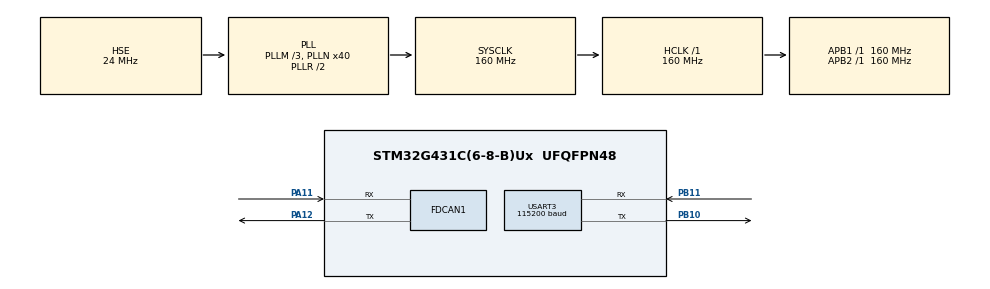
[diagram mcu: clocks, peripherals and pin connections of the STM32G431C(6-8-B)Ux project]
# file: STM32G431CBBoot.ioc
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FDCAN1.CalculateBaudRateNominal=500000
FDCAN1.CalculateTimeBitNominal=2000
FDCAN1.CalculateTimeQuantumNominal=125.0
FDCAN1.DataPrescaler=20
FDCAN1.DataTimeSeg1=10
FDCAN1.DataTimeSeg2=5
FDCAN1.NominalPrescaler=20
FDCAN1.NominalTimeSeg1=10
FDCAN1.NominalTimeSeg2=5
Mcu.Family=STM32G4
Mcu.Name=STM32G431C(6-8-B)Ux
Mcu.Package=UFQFPN48
NVIC.FDCAN1_IT0_IRQn=true\:0\:0\:false\:false\:true\:true\:true\:true
NVIC.PriorityGroup=NVIC_PRIORITYGROUP_4
NVIC.USART3_IRQn=true\:0\:0\:false\:false\:true\:true\:true\:true
PA11.Mode=FDCAN_Activate
PA11.Signal=FDCAN1_RX
PA12.Mode=FDCAN_Activate
PA12.Signal=FDCAN1_TX
PA13.Mode=Serial_Wire
PA13.Signal=SYS_JTMS-SWDIO
PA14.Mode=Serial_Wire
PA14.Signal=SYS_JTCK-SWCLK
PB10.Mode=Asynchronous
PB10.Signal=USART3_TX
PB11.Mode=Asynchronous
PB11.Signal=USART3_RX
PF0-OSC_IN.Mode=HSE-External-Oscillator
PF0-OSC_IN.Signal=RCC_OSC_IN
PF1-OSC_OUT.Mode=HSE-External-Oscillator
PF1-OSC_OUT.Signal=RCC_OSC_OUT
ProjectManager.HeapSize=0x200
ProjectManager.StackSize=0x400
ProjectManager.TargetToolchain=MDK-ARM V5.32
RCC.ADC12Freq_Value=160000000
RCC.AHBFreq_Value=160000000
RCC.APB1Freq_Value=160000000
RCC.APB1TimFreq_Value=160000000
RCC.APB2Freq_Value=160000000
RCC.APB2TimFreq_Value=160000000
RCC.CortexFreq_Value=160000000
RCC.EXTERNAL_CLOCK_VALUE=12288000
RCC.FLatency=FLASH_LATENCY_4
RCC.HCLKFreq_Value=160000000
RCC.HSE_VALUE=24000000
RCC.HSI48_VALUE=48000000
RCC.HSI_VALUE=16000000
RCC.PLLM=RCC_PLLM_DIV3
RCC.PLLN=40
RCC.PLLSourceVirtual=RCC_PLLSOURCE_HSE
RCC.PWR_Regulator_Voltage_Scale=PWR_REGULATOR_VOLTAGE_SCALE1_BOOST
RCC.SYSCLKFreq_VALUE=160000000
RCC.SYSCLKSource=RCC_SYSCLKSOURCE_PLLCLK
RCC.USBFreq_Value=160000000
RCC.VCOOutputFreq_Value=320000000
USART3.AutoBaudRateEnableParam=UART_ADVFEATURE_AUTOBAUDRATE_DISABLE
USART3.BaudRate=115200
USART3.ClockPrescaler=PRESCALER_DIV1
USART3.DMADisableonRxErrorParam=ADVFEATURE_DMA_ENABLEONRXERROR
USART3.DataInvertParam=ADVFEATURE_DATAINV_DISABLE
USART3.FIFOMode=FIFOMODE_DISABLE
USART3.MSBFirstParam=ADVFEATURE_MSBFIRST_DISABLE
USART3.Mode=MODE_TX_RX
USART3.OneBitSampling=UART_ONE_BIT_SAMPLE_DISABLE
USART3.OverSampling=UART_OVERSAMPLING_16
USART3.OverrunDisableParam=ADVFEATURE_OVERRUN_ENABLE
USART3.Parity=PARITY_NONE
USART3.RXFIFOThreshold=RXFIFO_THRESHOLD_1EIGHTHFULL
USART3.RxPinLevelInvertParam=ADVFEATURE_RXINV_DISABLE
USART3.StopBits=STOPBITS_1
USART3.SwapParam=ADVFEATURE_SWAP_DISABLE
USART3.TXFIFOThreshold=TXFIFO_THRESHOLD_1EIGHTHFULL
USART3.TxPinLevelInvertParam=ADVFEATURE_TXINV_DISABLE
USART3.VirtualMode-Asynchronous=VM_ASYNC
USART3.WordLength=WORDLENGTH_8B
VP_SYS_VS_DBSignals.Mode=DisableDeadBatterySignals
board=custom

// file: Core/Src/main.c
/* USER CODE BEGIN Header */
/**
  ******************************************************************************
  * @file           : main.c
  * @brief          : Main program body
  ******************************************************************************
  * @attention
  *
  * Copyright (c) 2024 STMicroelectronics.
  * All rights reserved.
  *
  * This software is licensed under terms that can be found in the LICENSE file
  * in the root directory of this software component.
  * If no LICENSE file comes with this software, it is provided AS-IS.
  *
  ******************************************************************************
  */
/* USER CODE END Header */
#include "main.h"
#include "fdcan.h"
#include "usart.h"
#include "gpio.h"
/* USER CODE BEGIN Includes */
#include "check_agent_engine.h"
#include "micro_shell.h"
#include "ymodem_ota.h"
/* USER CODE END Includes */

/* USER CODE BEGIN PD */
uint8_t LL_flash_write(uint32_t addr, uint64_t* pdata64, uint32_t len_64);
/* USER CODE END PD */

void SystemClock_Config(void);

/* USER CODE BEGIN 0 */
__attribute__((aligned(32)))
uint8_t s_chBuffer[2048 + 128] ;
static byte_queue_t                  s_tCheckUsePeekQueue;
static fsm(check_use_peek)           s_fsmCheckUsePeek;
static ymodem_ota_recive_t           s_tYmodemOtaReceive;
static check_shell_t                 s_tShellObj;

int reboot(void)
{
    SCB->AIRCR = 0X05FA0000 | (uint32_t)0x04;
    return 0;
}
MSH_CMD_EXPORT(reboot, reboot)

int64_t get_system_time_ms(void)
{
    return HAL_GetTick();
}

uint16_t shell_read_data(wl_shell_t *ptObj, char *pchBuffer, uint16_t hwSize)
{
    peek_byte_t *ptReadByte = get_read_byte_interface(&s_fsmCheckUsePeek);
    return ptReadByte->fnGetByte(ptReadByte, (uint8_t *)pchBuffer, hwSize);
}

uint16_t shell_write_data(wl_shell_t *ptObj, const char *pchBuffer, uint16_t hwSize)
{
	HAL_UART_Transmit(&huart3, (uint8_t *)pchBuffer, hwSize, 100);
	return hwSize;
}
/* USER CODE END 0 */

int main(void)
{

  /* MCU Configuration--------------------------------------------------------*/

  /* Reset of all peripherals, Initializes the Flash interface and the Systick. */
  HAL_Init();

  /* Configure the system clock */
  SystemClock_Config();

  /* Initialize all configured peripherals */
  MX_GPIO_Init();
  MX_USART3_UART_Init();
  MX_FDCAN1_Init();
  /* USER CODE BEGIN 2 */
	queue_init(&s_tCheckUsePeekQueue, s_chBuffer, sizeof(s_chBuffer));
    init_fsm(check_use_peek, &s_fsmCheckUsePeek, args(&s_tCheckUsePeekQueue));
    shell_ops_t s_tOps = {
        .fnReadData = shell_read_data,
		.fnWriteData = shell_write_data,
    };
    shell_init(&s_tShellObj,&s_tOps);
	agent_register(&s_fsmCheckUsePeek, &s_tShellObj.tCheckAgent);

    ymodem_ota_receive_init(&s_tYmodemOtaReceive, get_read_byte_interface(&s_fsmCheckUsePeek));
    agent_register(&s_fsmCheckUsePeek, &s_tYmodemOtaReceive.tCheckAgent);

    connect(&tUartMsgObj, SIGNAL(uart_sig), &s_tCheckUsePeekQueue, SLOT(enqueue_bytes));

    connect(&s_tYmodemOtaReceive.tYmodemReceive, SIGNAL(ymodem_rec_sig), &huart3, SLOT(uart_sent_data));
  /* USER CODE END 2 */

  /* Infinite loop */
  while (1)
  {

    /* USER CODE BEGIN 3 */
      call_fsm( check_use_peek,  &s_fsmCheckUsePeek );
  }
  /* USER CODE END 3 */

}

void SystemClock_Config(void)
{
  RCC_OscInitTypeDef RCC_OscInitStruct = {0};
  RCC_ClkInitTypeDef RCC_ClkInitStruct = {0};

  /** Configure the main internal regulator output voltage
  */
  HAL_PWREx_ControlVoltageScaling(PWR_REGULATOR_VOLTAGE_SCALE1_BOOST);

  /** Initializes the RCC Oscillators according to the specified parameters
  * in the RCC_OscInitTypeDef structure.
  */
  RCC_OscInitStruct.OscillatorType = RCC_OSCILLATORTYPE_HSE;
  RCC_OscInitStruct.HSEState = RCC_HSE_ON;
  RCC_OscInitStruct.PLL.PLLState = RCC_PLL_ON;
  RCC_OscInitStruct.PLL.PLLSource = RCC_PLLSOURCE_HSE;
  RCC_OscInitStruct.PLL.PLLM = RCC_PLLM_DIV3;
  RCC_OscInitStruct.PLL.PLLN = 40;
  RCC_OscInitStruct.PLL.PLLP = RCC_PLLP_DIV2;
  RCC_OscInitStruct.PLL.PLLQ = RCC_PLLQ_DIV2;
  RCC_OscInitStruct.PLL.PLLR = RCC_PLLR_DIV2;
  if (HAL_RCC_OscConfig(&RCC_OscInitStruct) != HAL_OK)
  {
    Error_Handler();
  }

  /** Initializes the CPU, AHB and APB buses clocks
  */
  RCC_ClkInitStruct.ClockType = RCC_CLOCKTYPE_HCLK|RCC_CLOCKTYPE_SYSCLK
                              |RCC_CLOCKTYPE_PCLK1|RCC_CLOCKTYPE_PCLK2;
  RCC_ClkInitStruct.SYSCLKSource = RCC_SYSCLKSOURCE_PLLCLK;
  RCC_ClkInitStruct.AHBCLKDivider = RCC_SYSCLK_DIV1;
  RCC_ClkInitStruct.APB1CLKDivider = RCC_HCLK_DIV1;
  RCC_ClkInitStruct.APB2CLKDivider = RCC_HCLK_DIV1;

  if (HAL_RCC_ClockConfig(&RCC_ClkInitStruct, FLASH_LATENCY_4) != HAL_OK)
  {
    Error_Handler();
  }
}

/* USER CODE BEGIN 4 */
uint8_t LL_flash_write(uint32_t addr, uint64_t* pdata64, uint32_t len_64)
{
  uint8_t ret;
  uint64_t read;

  HAL_FLASH_Unlock();           //上锁，以结束FLASH操作
  __HAL_FLASH_CLEAR_FLAG(FLASH_FLAG_OPTVERR);

  for(uint16_t j=0; j<len_64; j++) //按uint64_t计算的
  {
    for(uint8_t i=0; i<10; i++)    //不超过10次的重复操作，以保证写入成功
    {
      ret = HAL_FLASH_Program(0, addr+j*8, *(pdata64+j));
      if(ret == HAL_OK)
      {
        read = *(__IO uint64_t *)(addr+j*8);  //在MCU认为写入正确以后，再次读取一下数据，并进行比对，如果比对不成功，也说明写入出错
        if(read != *(pdata64+j))
          ret = 255;
        return ret;
      }
    }
  }

  HAL_FLASH_Lock();           //上锁，以结束FLASH操作

  return ret;
}
/* USER CODE END 4 */

void Error_Handler(void)
{
  __disable_irq();
  while (1)
  {
  }
}
